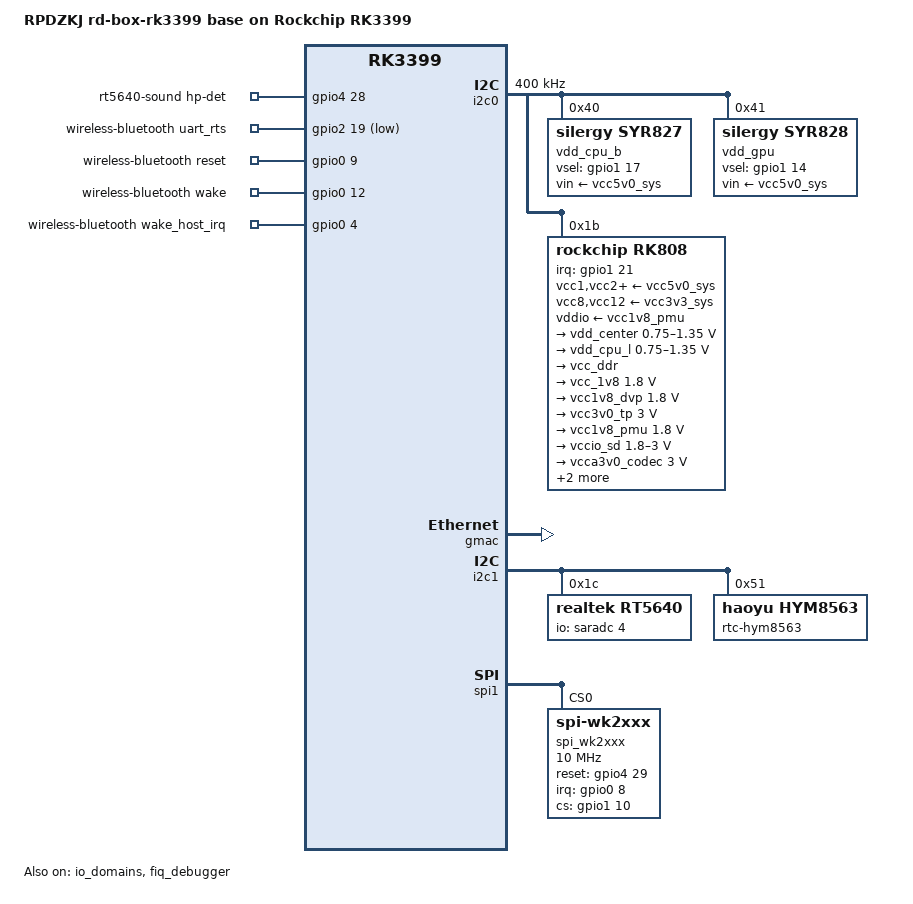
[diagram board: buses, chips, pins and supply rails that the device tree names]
#include "rk3399-sapphire-excavator-linux.dtsi"
#include "rp-usb-typea.dtsi"


/** lcd configuration */
//#include "rp-lcd-hdmi.dtsi"
//#include "rp-lcd-mipi-5-720-1280-v2-boxTP.dtsi"
#include "rp-lcd-mipi-7-720-1280-jc070hd005-v1.dtsi"
//#include "rp-lcd-mipi-8-800-1280-v3.dtsi"
//#include "rp-lcd-mipi-8-1200-1920.dtsi"
//#include "rp-lcd-mipi-10-800-1280-v3.dtsi"
//#include "rp-lcd-edp-13.3-1920-1080.dtsi"




/ {

        model = "RPDZKJ rd-box-rk3399 base on Rockchip RK3399";
        compatible = "rpdzkj,rd-box-rk3399", "rockchip,rk3399";

        
        rp_power{
            compatible = "rp_power";
	    rp_not_deep_sleep = <1>;
            status = "okay";
            
            /* 
             * #define GPIO_FUNCTION_OUTPUT 0
             * #define GPIO_FUNCTION_INPUT 1
             * #define GPIO_FUNCTION_IRQ 2
             * #define GPIO_FUNCTION_FLASH 3
             * #define GPIO_FUNCTION_OUTPUT_CTRL 4 //output and creat proc ctrl
             * 
             * you can define the gpio function as above
             * on gpio_function = <>;
             */        

            fan_en {    //fan
                gpio_num = <&gpio1 18 GPIO_ACTIVE_HIGH>;
                gpio_function = <4>;
            };
   
            hub_rst {   // usb hub reset pin
                gpio_num = <&gpio1 24 GPIO_ACTIVE_HIGH>;
                gpio_function = <4>;
            };
            
            breath-led {    //run led
                gpio_num = <&gpio4 24 GPIO_ACTIVE_HIGH>;
                gpio_function = <3>;
            };
            
            vdd-en {    //vdd_5v, vdd_io power en
                gpio_num = <&gpio4 30 GPIO_ACTIVE_HIGH>;
                gpio_function = <4>;
            };
            
            vdd_3g {    // 4g module power enable
                gpio_num = <&gpio4 22 GPIO_ACTIVE_HIGH>;
                gpio_function = <4>;
            };
            
            host_en {   //usb port power enable
                    gpio_num = <&gpio4 25 GPIO_ACTIVE_HIGH>;
                    gpio_function = <4>;
            };
            
            otg_host_en { /* usb3.0 otg port host power en,
                           * refer to Schematic diagram,
                           * the default status is needed
                           * by host active, such as below
                           * GPIO_ACTIVE_LOW
                           */
                    gpio_num = <&gpio4 26 GPIO_ACTIVE_LOW>;
                    gpio_function = <4>;
            };
        };

        rp_gpio{
            status = "okay";
            compatible = "rp_gpio";

            /**
             * GPIO example, place you want to control as below
             *
             * gpioxxx {                    // the node name will display on /proc/rp_gpio, you can define any character string
             *      gpio_num = <>;          // gpio you want ot control
             *      gpio_function = <>;     // function of current gpio: 0 output, 1 input, 3 blink per 2S
             *      gpio_event = <KEY_F14>; // optional property used to define gpio report event such as KEY_F14, only works in case of gpio_function = <1>;
             * };
             */

            gpio0a2 {
                gpio_num = <&gpio0 2 GPIO_ACTIVE_LOW>;
                gpio_function = <0>;
            };

            gpio1a2 {
                gpio_num = <&gpio1 2 GPIO_ACTIVE_LOW>;
                gpio_function = <0>;
            };

            gpio1c7 {
                gpio_num = <&gpio1 23 GPIO_ACTIVE_LOW>;
                gpio_function = <0>;
            };

            gpio0b3 {
                gpio_num = <&gpio0 11 GPIO_ACTIVE_LOW>;
                gpio_function = <0>;
            };

            gpio3d4 {
                gpio_num = <&gpio3 28 GPIO_ACTIVE_LOW>;
                gpio_function = <0>;
            };

            gpio3d5 {
                gpio_num = <&gpio3 29 GPIO_ACTIVE_LOW>;
                gpio_function = <0>;
            };

            gpio3d6 {
                gpio_num = <&gpio3 30 GPIO_ACTIVE_LOW>;
                gpio_function = <0>;
            };

            gpio4c5 {
                gpio_num = <&gpio4 21 GPIO_ACTIVE_LOW>;
                gpio_function = <0>;
            };

            gpio4d3 {
                gpio_num = <&gpio4 27 GPIO_ACTIVE_LOW>;
                gpio_function = <0>;
            };
        };
        
        rt5640-sound {
                compatible = "simple-audio-card";
                simple-audio-card,format = "i2s";
                simple-audio-card,name = "rockchip,rt5640-codec";
                simple-audio-card,mclk-fs = <256>;
                simple-audio-card,widgets =
                        "Microphone", "Mic Jack",
                        //"Headphone", "Headphone Jack",    //fix for headphone dapm name to match drivers
                        "Headphone", "Headphones",
                        "Speaker", "Speaker";
                simple-audio-card,routing =
                        "Mic Jack", "MICBIAS1",
                        "IN1P", "Mic Jack",
                        //"Headphone Jack", "HPOL",         //fix for headphone dapm name to match drivers
                        //"Headphone Jack", "HPOR",
                        "Headphones", "HPOL",
                        "Headphones", "HPOR",
                        "Speaker", "SPOLP",
                        "Speaker", "SPOLN",
                        "Speaker", "SPORP",
                        "Speaker", "SPORN";
                pinctrl-names = "default";
                pinctrl-0 = <&rt5640_hp_det_gpio>;
                simple-audio-card,hp-det-gpio = <&gpio4 28 GPIO_ACTIVE_HIGH>;
                simple-audio-card,cpu {
                        sound-dai = <&i2s0>;
                };
                simple-audio-card,codec {
                        sound-dai = <&rt5640>;
                };
        };        
        
        wireless-bluetooth {
            /** redefine for fix real used gpio */
            compatible = "bluetooth-platdata";
            clocks = <&rk808 1>;
            clock-names = "ext_clock";
            //wifi-bt-power-toggle;
            uart_rts_gpios = <&gpio2 19 GPIO_ACTIVE_LOW>; // GPIO2_C3 
            pinctrl-names = "default", "rts_gpio";
            pinctrl-0 = <&uart0_rts>;
            pinctrl-1 = <&uart0_gpios>;
            //BT,power_gpio  = <&gpio3 19 GPIO_ACTIVE_HIGH>; // GPIOx_xx 
            BT,reset_gpio    = <&gpio0 9 GPIO_ACTIVE_HIGH>; // GPIO0_B1 
            BT,wake_gpio     = <&gpio0 12 GPIO_ACTIVE_HIGH>; // GPIO0_B4 
            BT,wake_host_irq = <&gpio0 4 GPIO_ACTIVE_HIGH>; // GPIO0_A4 
            status = "okay";
        };
};


&i2c0 {
        status = "okay";
        i2c-scl-rising-time-ns = <168>;
        i2c-scl-falling-time-ns = <4>;
        clock-frequency = <400000>;

        vdd_cpu_b: syr827@40 {
                compatible = "silergy,syr827";
                reg = <0x40>;
                vin-supply = <&vcc5v0_sys>;
                regulator-compatible = "fan53555-reg";
                pinctrl-names = "default";
                pinctrl-0 = <&vsel1_gpio>;
                vsel-gpios = <&gpio1 17 GPIO_ACTIVE_HIGH>;
                regulator-name = "vdd_cpu_b";
                regulator-min-microvolt = <712500>;
                regulator-max-microvolt = <1500000>;
                regulator-ramp-delay = <1000>;
                fcs,suspend-voltage-selector = <1>;
                regulator-always-on;
                regulator-boot-on;
                regulator-initial-state = <3>;
                        regulator-state-mem {
                        regulator-off-in-suspend;
                };
        };

        vdd_gpu: syr828@41 {
                compatible = "silergy,syr828";
                reg = <0x41>;
                vin-supply = <&vcc5v0_sys>;
                regulator-compatible = "fan53555-reg";
                pinctrl-names = "default";
                pinctrl-0 = <&vsel2_gpio>;
                vsel-gpios = <&gpio1 14 GPIO_ACTIVE_HIGH>;
                regulator-name = "vdd_gpu";
                regulator-min-microvolt = <712500>;
                regulator-max-microvolt = <1500000>;
                regulator-ramp-delay = <1000>;
                fcs,suspend-voltage-selector = <1>;
                regulator-always-on;
                regulator-boot-on;
                regulator-initial-state = <3>;
                        regulator-state-mem {
                        regulator-off-in-suspend;
                };
        };

        rk808: pmic@1b {
                compatible = "rockchip,rk808";
                reg = <0x1b>;
                interrupt-parent = <&gpio1>;
                interrupts = <21 IRQ_TYPE_LEVEL_LOW>;
                pinctrl-names = "default";
                pinctrl-0 = <&pmic_int_l &pmic_dvs2>;
                rockchip,system-power-controller;
                wakeup-source;
                #clock-cells = <1>;
                //clock-output-names = "xin32k", "rk808-clkout2";
               clock-output-names = "rk808-clkout1", "rk808-clkout2";   //wifi 
/*
               vcc1-supply = <&vcc3v3_sys>;
               vcc2-supply = <&vcc3v3_sys>;
               vcc3-supply = <&vcc3v3_sys>;
               vcc4-supply = <&vcc3v3_sys>;
               vcc6-supply = <&vcc3v3_sys>;
               vcc7-supply = <&vcc3v3_sys>;
                vcc8-supply = <&vcc3v3_sys>;
               vcc9-supply = <&vcc3v3_sys>;
               vcc10-supply = <&vcc3v3_sys>;
               vcc11-supply = <&vcc3v3_sys>;
                vcc12-supply = <&vcc3v3_sys>;
               vddio-supply = <&vcc_3v0>;

*/
                vcc1-supply = <&vcc5v0_sys>;
                vcc2-supply = <&vcc5v0_sys>;
                vcc3-supply = <&vcc5v0_sys>;
                vcc4-supply = <&vcc5v0_sys>;
                vcca-supply = <&vcc5v0_sys>;
                vcc6-supply = <&vcc5v0_sys>;
                vcc7-supply = <&vcc5v0_sys>;
                vcc8-supply = <&vcc3v3_sys>;
                vcc9-supply = <&vcc5v0_sys>;
                vcc10-supply = <&vcc5v0_sys>;
                vcc11-supply = <&vcc5v0_sys>;
                vcc12-supply = <&vcc3v3_sys>;
                vddio-supply = <&vcc1v8_pmu>;

                regulators {
                        vdd_center: DCDC_REG1 {
                                regulator-always-on;
                                regulator-boot-on;
                                regulator-min-microvolt = <750000>;
                                regulator-max-microvolt = <1350000>;
                                regulator-ramp-delay = <6001>;
                                regulator-name = "vdd_center";
                                regulator-state-mem {
                                        regulator-off-in-suspend;
                                };
                        };

                        vdd_cpu_l: DCDC_REG2 {
                                regulator-always-on;
                                regulator-boot-on;
                                regulator-min-microvolt = <750000>;
                                regulator-max-microvolt = <1350000>;
                                regulator-ramp-delay = <6001>;
                                regulator-name = "vdd_cpu_l";
                                regulator-state-mem {
                                        regulator-off-in-suspend;
                                };
                        };

                        vcc_ddr: DCDC_REG3 {
                                regulator-always-on;
                                regulator-boot-on;
                                regulator-name = "vcc_ddr";
                                regulator-state-mem {
                                        regulator-on-in-suspend;
                                };
                        };

                        vcc_1v8: DCDC_REG4 {
                                regulator-always-on;
                                regulator-boot-on;
                                regulator-min-microvolt = <1800000>;
                                regulator-max-microvolt = <1800000>;
                                regulator-name = "vcc_1v8";
                                regulator-state-mem {
                                        regulator-on-in-suspend;
                                        regulator-suspend-microvolt = <1800000>;
                                };
                        };

                        vcc1v8_dvp: LDO_REG1 {
                                regulator-always-on;
                                regulator-boot-on;
                                regulator-min-microvolt = <1800000>;
                                regulator-max-microvolt = <1800000>;
                                regulator-name = "vcc1v8_dvp";
                                regulator-state-mem {
                                        regulator-off-in-suspend;
                                };
                        };

                        vcc3v0_tp: LDO_REG2 {
                                regulator-always-on;
                                regulator-boot-on;
                                regulator-min-microvolt = <3000000>;
                                regulator-max-microvolt = <3000000>;
                                regulator-name = "vcc3v0_tp";
                                regulator-state-mem {
                                        //regulator-off-in-suspend;
                                        regulator-on-in-suspend;
                                        regulator-suspend-microvolt = <3000000>;
                                };
                        };

                        vcc1v8_pmu: LDO_REG3 {
                                regulator-always-on;
                                regulator-boot-on;
                                regulator-min-microvolt = <1800000>;
                                regulator-max-microvolt = <1800000>;
                                regulator-name = "vcc1v8_pmu";
                                regulator-state-mem {
                                        regulator-on-in-suspend;
                                        regulator-suspend-microvolt = <1800000>;
                                };
                        };

                        vccio_sd: LDO_REG4 {
                                regulator-always-on;
                                regulator-boot-on;
                                regulator-min-microvolt = <1800000>;
                                regulator-max-microvolt = <3000000>;
                                regulator-name = "vccio_sd";
                                regulator-state-mem {
                                        regulator-on-in-suspend;
                                        regulator-suspend-microvolt = <3000000>;
                                };
                        };

                        vcca3v0_codec: LDO_REG5 {
                                regulator-always-on;
                                regulator-boot-on;
                                regulator-min-microvolt = <3000000>;
                                regulator-max-microvolt = <3000000>;
                                regulator-name = "vcca3v0_codec";
                                regulator-state-mem {
                                        regulator-off-in-suspend;
                                   //     regulator-suspend-microvolt = <3000000>;
                                };
                        };

                        vcc_1v5: LDO_REG6 {
                                regulator-always-on;
                                regulator-boot-on;
                                regulator-min-microvolt = <1500000>;
                                regulator-max-microvolt = <1500000>;
                                regulator-name = "vcc_1v5";
                                regulator-state-mem {
                                        regulator-on-in-suspend;
                                        regulator-suspend-microvolt = <1500000>;
                                };
                        };

                        vcca1v8_codec: LDO_REG7 {
                                regulator-always-on;
                                regulator-boot-on;
                                regulator-min-microvolt = <1800000>;
                                regulator-max-microvolt = <1800000>;
                                regulator-name = "vcca1v8_codec";
                                regulator-state-mem {
                                        regulator-off-in-suspend;
                                    //    regulator-suspend-microvolt = <1800000>;
                                };
                        };

                        vcc_3v0: LDO_REG8 {
                                regulator-always-on;
                                regulator-boot-on;
                                regulator-min-microvolt = <3000000>;
                                regulator-max-microvolt = <3000000>;
                                regulator-name = "vcc_3v0";
                                regulator-state-mem {
                                        regulator-on-in-suspend;
                                        regulator-suspend-microvolt = <3000000>;
                                };
                        };

                        vcc3v3_s3: SWITCH_REG1 {
                                regulator-always-on;
                                regulator-boot-on;
                                regulator-name = "vcc3v3_s3";
                                regulator-state-mem {
                                        regulator-off-in-suspend;
                                };
                        };

                        vcc3v3_s0: SWITCH_REG2 {
                                regulator-always-on;
                                regulator-boot-on;
                                regulator-name = "vcc3v3_s0";
                                regulator-state-mem {
                                        regulator-off-in-suspend;
                                };
                        };
                };
        };
};


&io_domains {
        status = "okay";

        bt656-supply = <&vcc_1v8>;              /* bt656_gpio2ab_ms */
        audio-supply = <&vcca1v8_codec>;        /* audio_gpio3d4a_ms */
        sdmmc-supply = <&vccio_sd>;             /* sdmmc_gpio4b_ms */
        gpio1830-supply = <&vcc_3v0>;           /* gpio1833_gpio4cd_ms */
};

&gmac {
        /***** redefine delay value for rtl8211f */
        status = "okay";
        tx_delay = <0x21>;
        rx_delay = <0x23>;
        //max-speed = <100>;     /* set eth maximal speed, default utomatically adapt */
};

&pmu_io_domains {
        status = "okay";
        pmu1830-supply = <&vcc_1v8>;     //nano usb
};

&rk808 {
    rtc {
        /****** disable rtc-rk808 for use hym8563 */
        status = "disabled";
    };
};

&i2c1 {
        status = "okay";
        i2c-scl-rising-time-ns = <300>;
        i2c-scl-falling-time-ns = <15>;

        rt5640: rt5640@1c {
                #sound-dai-cells = <0>;
                compatible = "realtek,rt5640";
                reg = <0x1c>;
                clocks = <&cru SCLK_I2S_8CH_OUT>;
                clock-names = "mclk";
                realtek,in1-differential;
                pinctrl-names = "default";
                pinctrl-0 = <&i2s_8ch_mclk>;
                io-channels = <&saradc 4>;
                //hp-con-gpio = <&gpio4 21 GPIO_ACTIVE_HIGH>;
                //hp-det-gpio = <&gpio4 28 GPIO_ACTIVE_HIGH>;
                hp-det-adc-value = <500>;
                status = "okay";
        };
        rtc-hym8563@51 {
                status = "okay";
                compatible = "haoyu,hym8563";
                reg = <0x51>;
        };
};

&hdmi_sound {
	status = "disabled";
};

&spi1 {
        status = "okay";
        spi_wk2xxx: spi_wk2xxx@00{
                status = "okay";
                compatible = "spi-wk2xxx";
                reg = <0>;
                spi-max-frequency = <10000000>;
                reset-gpio = <&gpio4 29 GPIO_ACTIVE_HIGH>;
                irq-gpio = <&gpio0 8 IRQ_TYPE_EDGE_FALLING>;
                cs-gpio = <&gpio1 10 GPIO_ACTIVE_HIGH>;
        };

};
&fiq_debugger {
        status = "okay";
        rockchip,baudrate = <115200>;  /* Only 115200 and 1500000 */
};

&dfi {
       status = "disabled";
};
 
&dmc {
       status = "disabled";
};

&pinctrl {
        rt5640 {
                rt5640_hp_det_gpio: rt5640_hp_det_gpio {
                        rockchip,pins = <4 28 RK_FUNC_GPIO &pcfg_pull_none>;
                };
        };
        
        
    /** redefine for sdo1, sdo2 and sdo3 to be gpio */
    i2s0 {
        i2s0_8ch_bus: i2s0-8ch-bus {
            rockchip,pins =
                <3 24 RK_FUNC_1 &pcfg_pull_none>,
                <3 25 RK_FUNC_1 &pcfg_pull_none>,
                <3 26 RK_FUNC_1 &pcfg_pull_none>,
                <3 27 RK_FUNC_1 &pcfg_pull_none>,
                <3 31 RK_FUNC_1 &pcfg_pull_none>;
        };
    };
};

